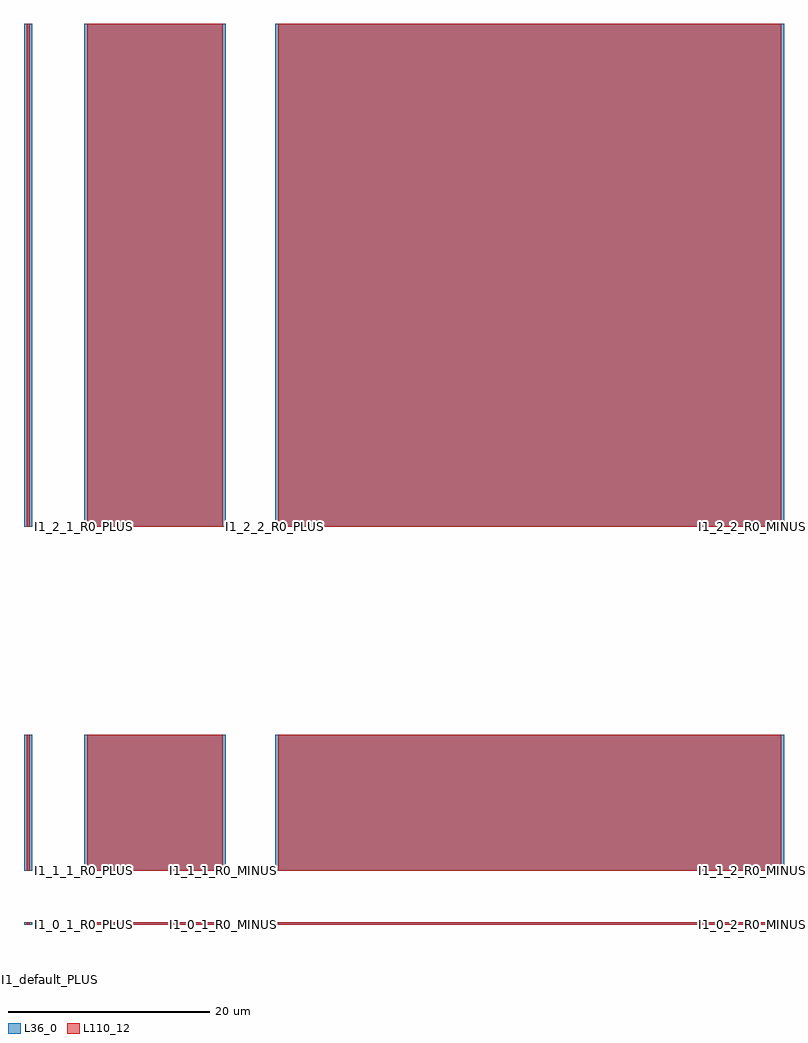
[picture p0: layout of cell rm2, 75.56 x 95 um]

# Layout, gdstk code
import gdstk
lib = gdstk.Library(unit=1e-6, precision=1e-09)
def R(c, l, rs):  # rectangles x0, y0, x1, y1
    for r in rs: c.add(gdstk.rectangle(r[:2], r[2:], *l))
L36_0 = (36, 0)
L110_12 = (110, 12)

rm2_cdns_630918095510 = lib.new_cell('rm2_CDNS_630918095510')
R(rm2_cdns_630918095510, L36_0, [(0,0,0.28,0.28), (0,0,0.84,0.28), (0.56,0,0.84,0.28)])
R(rm2_cdns_630918095510, L110_12, [(0.28,0,0.56,0.28)])

rm2_cdns_630918095511 = lib.new_cell('rm2_CDNS_630918095511')
R(rm2_cdns_630918095511, L36_0, [(0,0,0.28,0.28), (0,0,50.56,0.28), (50.28,0,50.56,0.28)])
R(rm2_cdns_630918095511, L110_12, [(0.28,0,50.28,0.28)])

rm2_cdns_630918095512 = lib.new_cell('rm2_CDNS_630918095512')
R(rm2_cdns_630918095512, L36_0, [(0,0,0.28,0.28), (0,0,0.84,0.28), (0.56,0,0.84,0.28)])
R(rm2_cdns_630918095512, L110_12, [(0.28,0,0.56,0.28)])

rm2_cdns_630918095513 = lib.new_cell('rm2_CDNS_630918095513')
R(rm2_cdns_630918095513, L36_0, [(0,0,0.28,0.28), (0,0,14.06,0.28), (13.78,0,14.06,0.28)])
R(rm2_cdns_630918095513, L110_12, [(0.28,0,13.78,0.28)])

rm2_cdns_630918095514 = lib.new_cell('rm2_CDNS_630918095514')
R(rm2_cdns_630918095514, L36_0, [(0,0,0.28,13.5), (0,0,50.56,13.5), (50.28,0,50.56,13.5)])
R(rm2_cdns_630918095514, L110_12, [(0.28,0,50.28,13.5)])

rm2_cdns_630918095515 = lib.new_cell('rm2_CDNS_630918095515')
R(rm2_cdns_630918095515, L36_0, [(0,0,0.28,13.5), (0,0,0.84,13.5), (0.56,0,0.84,13.5)])
R(rm2_cdns_630918095515, L110_12, [(0.28,0,0.56,13.5)])

rm2_cdns_630918095516 = lib.new_cell('rm2_CDNS_630918095516')
R(rm2_cdns_630918095516, L36_0, [(0,0,0.28,13.5), (0,0,14.06,13.5), (13.78,0,14.06,13.5)])
R(rm2_cdns_630918095516, L110_12, [(0.28,0,13.78,13.5)])

rm2_cdns_630918095517 = lib.new_cell('rm2_CDNS_630918095517')
R(rm2_cdns_630918095517, L36_0, [(0,0,0.28,50), (0,0,0.84,50), (0.56,0,0.84,50)])
R(rm2_cdns_630918095517, L110_12, [(0.28,0,0.56,50)])

rm2_cdns_630918095518 = lib.new_cell('rm2_CDNS_630918095518')
R(rm2_cdns_630918095518, L36_0, [(0,0,0.28,50), (0,0,14.06,50), (13.78,0,14.06,50)])
R(rm2_cdns_630918095518, L110_12, [(0.28,0,13.78,50)])

rm2_cdns_630918095519 = lib.new_cell('rm2_CDNS_630918095519')
R(rm2_cdns_630918095519, L36_0, [(0,0,0.28,50), (0,0,50.56,50), (50.28,0,50.56,50)])
R(rm2_cdns_630918095519, L110_12, [(0.28,0,50.28,50)])

rm2 = lib.new_cell('rm2')
rm2.add(gdstk.Reference(rm2_cdns_630918095510, (0,0)))
rm2.add(gdstk.Reference(rm2_cdns_630918095511, (25,5.4)))
rm2.add(gdstk.Reference(rm2_cdns_630918095512, (0,5.4)))
rm2.add(gdstk.Reference(rm2_cdns_630918095513, (6,5.4)))
rm2.add(gdstk.Reference(rm2_cdns_630918095514, (25,10.8)))
rm2.add(gdstk.Reference(rm2_cdns_630918095515, (0,10.8)))
rm2.add(gdstk.Reference(rm2_cdns_630918095516, (6,10.8)))
rm2.add(gdstk.Reference(rm2_cdns_630918095517, (0,45)))
rm2.add(gdstk.Reference(rm2_cdns_630918095518, (6,45)))
rm2.add(gdstk.Reference(rm2_cdns_630918095519, (25,45)))
rm2.add(gdstk.Label('I1_2_2_R0_PLUS', (25.025,45.025), layer=36, texttype=10))
rm2.add(gdstk.Label('I1_2_2_R0_MINUS', (75.305,45.025), layer=36, texttype=10))
rm2.add(gdstk.Label('I1_2_1_R0_PLUS', (6.025,45.025), layer=36, texttype=10))
rm2.add(gdstk.Label('I1_2_1_R0_MINUS', (19.805,45.025), layer=36, texttype=10))
rm2.add(gdstk.Label('I1_2_0_R0_PLUS', (0.025,45.025), layer=36, texttype=10))
rm2.add(gdstk.Label('I1_2_0_R0_MINUS', (0.585,45.025), layer=36, texttype=10))
rm2.add(gdstk.Label('I1_1_1_R0_PLUS', (6.025,10.825), layer=36, texttype=10))
rm2.add(gdstk.Label('I1_1_1_R0_MINUS', (19.805,10.825), layer=36, texttype=10))
rm2.add(gdstk.Label('I1_1_0_R0_PLUS', (0.025,10.825), layer=36, texttype=10))
rm2.add(gdstk.Label('I1_1_0_R0_MINUS', (0.585,10.825), layer=36, texttype=10))
rm2.add(gdstk.Label('I1_1_2_R0_PLUS', (25.025,10.825), layer=36, texttype=10))
rm2.add(gdstk.Label('I1_1_2_R0_MINUS', (75.305,10.825), layer=36, texttype=10))
rm2.add(gdstk.Label('I1_0_1_R0_PLUS', (6.025,5.425), layer=36, texttype=10))
rm2.add(gdstk.Label('I1_0_1_R0_MINUS', (19.805,5.425), layer=36, texttype=10))
rm2.add(gdstk.Label('I1_0_0_R0_PLUS', (0.025,5.425), layer=36, texttype=10))
rm2.add(gdstk.Label('I1_0_0_R0_MINUS', (0.585,5.425), layer=36, texttype=10))
rm2.add(gdstk.Label('I1_0_2_R0_PLUS', (25.025,5.425), layer=36, texttype=10))
rm2.add(gdstk.Label('I1_0_2_R0_MINUS', (75.305,5.425), layer=36, texttype=10))
rm2.add(gdstk.Label('I1_default_PLUS', (0.025,0.025), layer=36, texttype=10))
rm2.add(gdstk.Label('I1_default_MINUS', (0.585,0.025), layer=36, texttype=10))

lib.write_gds('rm2.gds')
